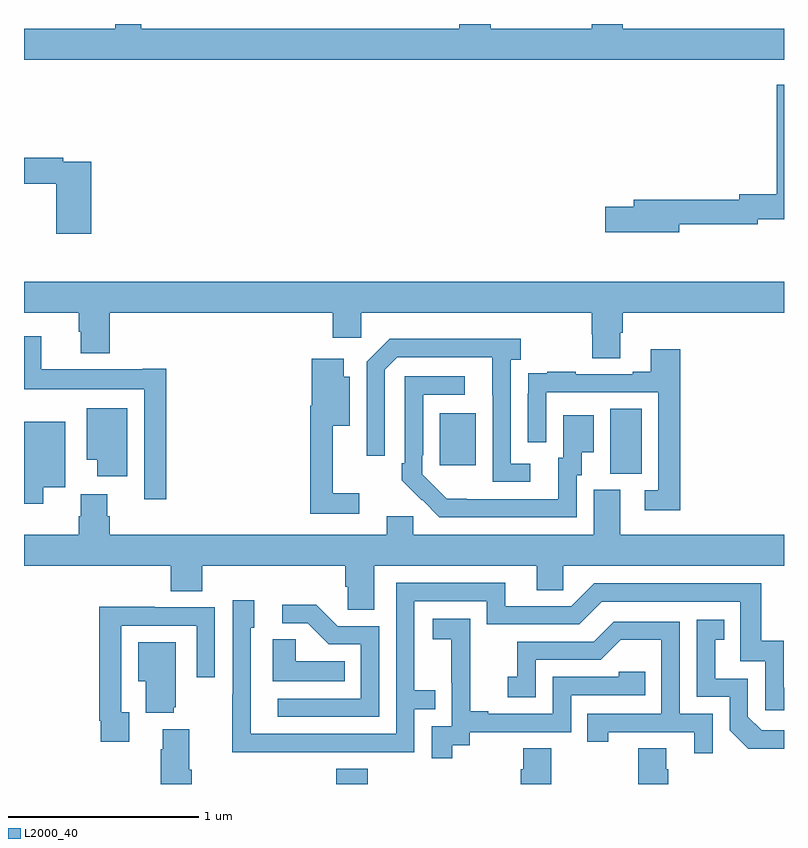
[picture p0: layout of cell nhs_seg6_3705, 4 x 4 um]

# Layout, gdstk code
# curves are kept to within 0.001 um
import gdstk
lib = gdstk.Library(unit=1e-6, precision=1e-09)
def R(c, l, rs):  # rectangles x0, y0, x1, y1
    for r in rs: c.add(gdstk.rectangle(r[:2], r[2:], *l))
def P(c, l, *ps):  # polygons
    for p in ps: c.add(gdstk.Polygon(p, *l))
L2000_40 = (2000, 40)

nhs_seg6_3705 = lib.new_cell('nhs_seg6_3705')
R(nhs_seg6_3705, L2000_40, [(328.643,967.5,328.808,967.579), (330.086,969.133,330.25,969.476), (329.189,969.177,329.377,969.451)])
P(nhs_seg6_3705, L2000_40, [(331,971.476),(330.152,971.476),(330.152,971.5),(329.987,971.5),(329.987,971.476),(329.456,971.476),(329.456,971.5),(329.291,971.5),(329.291,971.476),(327.618,971.476),(327.618,971.5),(327.479,971.5),(327.479,971.476),(327,971.476),(327,971.312),(331,971.312)],
  [(330.448,970.446),(330.862,970.446),(330.862,970.472),(331,970.472),(331,971.179),(330.962,971.179),(330.962,970.604),(330.764,970.604),(330.764,970.574),(330.209,970.574),(330.209,970.538),(330.06,970.538),(330.06,970.403),(330.448,970.403)],
  [(327.353,970.776),(327.206,970.776),(327.206,970.796),(327,970.796),(327,970.66),(327.17,970.66),(327.17,970.395),(327.353,970.395)],
  [(327,969.98),(327.287,969.98),(327.287,969.879),(327.299,969.879),(327.299,969.767),(327.452,969.767),(327.452,969.98),(328.625,969.98),(328.625,969.849),(328.776,969.849),(328.776,969.98),(329.987,969.98),(329.987,969.867),(329.992,969.867),(329.992,969.742),(330.139,969.742),(330.139,969.874),(330.152,969.874),(330.152,969.98),(331,969.98),(331,970.144),(327,970.144)],
  [(327.749,969.685),(327.626,969.685),(327.626,969.682),(327.092,969.682),(327.092,969.856),(327,969.856),(327,969.578),(327.633,969.578),(327.633,969),(327.749,969)],
  [(329.665,969.186),(329.562,969.186),(329.562,969.734),(329.614,969.734),(329.614,969.844),(328.924,969.844),(328.803,969.723),(328.803,969.228),(328.899,969.228),(328.899,969.681),(328.965,969.747),(329.465,969.747),(329.466,969.09),(329.665,969.09)],
  [(330.455,969.787),(330.299,969.787),(330.299,969.67),(330.203,969.67),(330.203,969.657),(329.903,969.657),(329.903,969.67),(329.755,969.67),(329.755,969.663),(329.653,969.663),(329.653,969.554),(329.652,969.554),(329.652,969.3),(329.748,969.3),(329.748,969.561),(330.339,969.561),(330.339,969.045),(330.267,969.045),(330.267,968.94),(330.455,968.94)],
  [(328.765,969.031),(328.625,969.031),(328.625,969.386),(328.714,969.386),(328.714,969.643),(328.684,969.643),(328.684,969.739),(328.514,969.739),(328.514,969.49),(328.507,969.49),(328.507,968.922),(328.765,968.922)],
  [(329.91,969.126),(329.935,969.126),(329.935,969.245),(329.998,969.245),(329.998,969.442),(329.837,969.442),(329.837,969.216),(329.813,969.216),(329.813,969),(329.226,969.001),(329.097,969.129),(329.097,969.229),(329.1,969.229),(329.1,969.549),(329.32,969.549),(329.32,969.645),(329.004,969.645),(329.004,969.187),(328.989,969.187),(328.989,969.099),(329.186,968.904),(329.91,968.904)],
  [(327.544,969.478),(327.329,969.478),(327.329,969.206),(327.386,969.206),(327.386,969.12),(327.544,969.12)],
  [(327.1,969.062),(327.217,969.062),(327.217,969.406),(327,969.406),(327,968.976),(327.1,968.976)],
  [(328.843,968.648),(329.699,968.648),(329.699,968.521),(329.838,968.521),(329.838,968.648),(331,968.648),(331,968.812),(330.139,968.812),(330.139,969.048),(329.999,969.048),(329.999,968.812),(329.049,968.812),(329.049,968.91),(328.91,968.91),(328.91,968.812),(327.452,968.812),(327.452,968.91),(327.439,968.91),(327.439,969.025),(327.299,969.025),(327.299,968.91),(327.287,968.91),(327.287,968.812),(327,968.812),(327,968.648),(327.773,968.648),(327.773,968.515),(327.938,968.515),(327.938,968.648),(328.691,968.648),(328.691,968.539),(328.704,968.539),(328.704,968.416),(328.843,968.416)],
  [(328.559,967.668),(329.055,967.668),(329.055,967.893),(329.165,967.893),(329.165,967.994),(329.055,967.994),(329.055,968.463),(329.436,968.463),(329.436,968.34),(329.922,968.34),(330.042,968.46),(330.771,968.46),(330.771,968.145),(330.9,968.145),(330.9,967.887),(331,967.887),(331,968.007),(330.998,968.007),(330.998,968.254),(330.88,968.254),(330.88,968.556),(330,968.556),(329.88,968.436),(329.533,968.436),(329.533,968.559),(328.959,968.559),(328.959,967.764),(328.194,967.764),(328.194,968.322),(328.213,968.322),(328.213,968.467),(328.098,968.467),(328.098,967.973),(328.096,967.973),(328.096,967.667)],
  [(328.869,968.331),(328.65,968.331),(328.537,968.444),(328.359,968.444),(328.359,968.346),(328.493,968.346),(328.604,968.235),(328.773,968.235),(328.773,967.95),(328.335,967.95),(328.335,967.854),(328.869,967.854)],
  [(327.553,967.878),(327.513,967.878),(327.513,968.334),(327.909,968.334),(327.909,968.061),(328.005,968.061),(328.005,968.43),(327.689,968.43),(327.689,968.432),(327.397,968.432),(327.397,967.834),(327.405,967.834),(327.405,967.722),(327.553,967.722)],
  [(329.254,967.705),(329.346,967.705),(329.346,967.773),(329.88,967.773),(329.88,967.968),(330.269,967.968),(330.269,968.091),(330.129,968.091),(330.129,968.064),(329.784,968.064),(329.784,967.869),(329.443,967.869),(329.443,967.882),(329.348,967.882),(329.348,968.165),(329.349,968.165),(329.349,968.371),(329.151,968.371),(329.151,968.261),(329.249,968.261),(329.249,968.033),(329.25,968.033),(329.25,967.803),(329.145,967.803),(329.145,967.635),(329.254,967.635)],
  [(331,967.782),(330.882,967.782),(330.81,967.854),(330.81,968.055),(330.637,968.055),(330.637,968.259),(330.686,968.259),(330.686,968.365),(330.54,968.365),(330.54,967.959),(330.714,967.959),(330.714,967.782),(330.812,967.685),(331,967.685)],
  [(330.624,967.869),(330.45,967.869),(330.45,968.355),(330.104,968.355),(329.999,968.25),(329.596,968.25),(329.596,968.065),(329.547,968.065),(329.547,967.956),(329.694,967.956),(329.694,968.154),(330.036,968.154),(330.14,968.258),(330.354,968.258),(330.354,967.869),(329.965,967.869),(329.965,967.722),(330.076,967.722),(330.076,967.773),(330.527,967.773),(330.527,967.662),(330.624,967.662)],
  [(328.688,968.146),(328.431,968.146),(328.431,968.261),(328.31,968.261),(328.31,968.042),(328.688,968.042)],
  [(327.788,967.905),(327.799,967.905),(327.799,968.245),(327.602,968.245),(327.602,968.042),(327.641,968.042),(327.641,967.874),(327.788,967.874)],
  [(327.884,967.576),(327.871,967.576),(327.871,967.789),(327.731,967.789),(327.731,967.682),(327.719,967.682),(327.719,967.5),(327.884,967.5)],
  [(329.775,967.688),(329.627,967.688),(329.627,967.578),(329.615,967.578),(329.615,967.5),(329.775,967.5)],
  [(330.392,967.578),(330.379,967.578),(330.379,967.688),(330.232,967.688),(330.232,967.5),(330.392,967.5)])

lib.write_gds('nhs_seg6_3705.gds')
